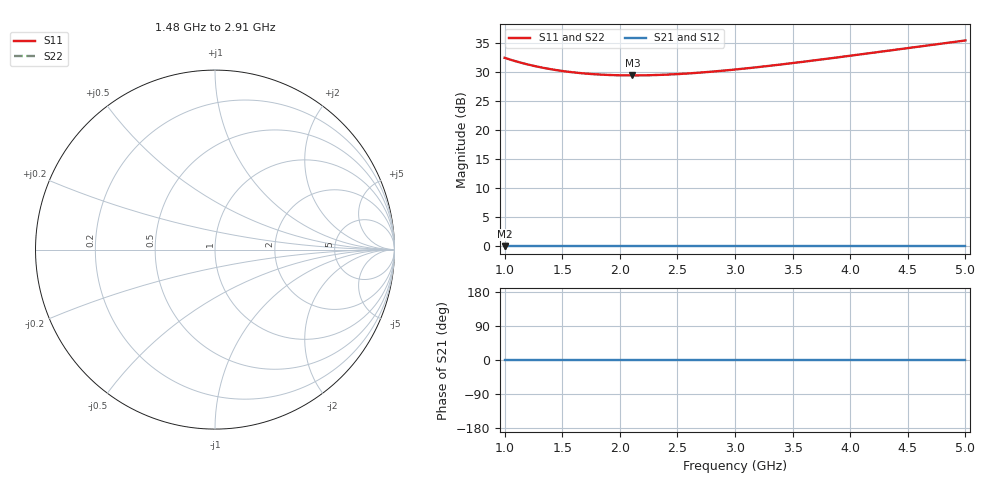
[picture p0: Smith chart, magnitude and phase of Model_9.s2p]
# GHZ S RI R 50
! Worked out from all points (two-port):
!   401 points, 1 GHz to 5 GHz, reference 50 ohm
!   highest |S21| = 0.00 dB at 1 GHz (marker M1); lowest = 0.0 dB at 1 GHz (marker M2)
!   |S21| within 3 dB of the highest: start of sweep to end of sweep
!   lowest |S11| = 29.5 dB at 2.11 GHz (marker M3)
!   |S11| at or under -10 dB: nowhere
!   |S22| runs from 29.5 to 35.5 dB; largest |S21 - S12| = 0
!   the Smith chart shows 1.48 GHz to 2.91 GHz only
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1  42.22 0  1 0  1 0  42.22 0
1.15  38.1 0  1 0  1 0  38.1 0
1.22  36.6 0  1 0  1 0  36.6 0
1.3  35.15 0  1 0  1 0  35.15 0
1.39  33.81 0  1 0  1 0  33.81 0
1.48  32.72 0  1 0  1 0  32.72 0
1.57  31.84 0  1 0  1 0  31.84 0
1.67  31.08 0  1 0  1 0  31.08 0
1.77  30.51 0  1 0  1 0  30.51 0
1.88  30.09 0  1 0  1 0  30.09 0
2.11  29.75 0  1 0  1 0  29.75 0
2.34  30.04 0  1 0  1 0  30.04 0
2.5  30.55 0  1 0  1 0  30.55 0
2.66  31.27 0  1 0  1 0  31.27 0
2.83  32.26 0  1 0  1 0  32.26 0
3  33.45 0  1 0  1 0  33.45 0
3.33  36.29 0  1 0  1 0  36.29 0
3.67  39.89 0  1 0  1 0  39.89 0
4  43.98 0  1 0  1 0  43.98 0
4.34  48.76 0  1 0  1 0  48.76 0
4.63  53.28 0  1 0  1 0  53.28 0
5  59.61 0  1 0  1 0  59.61 0
